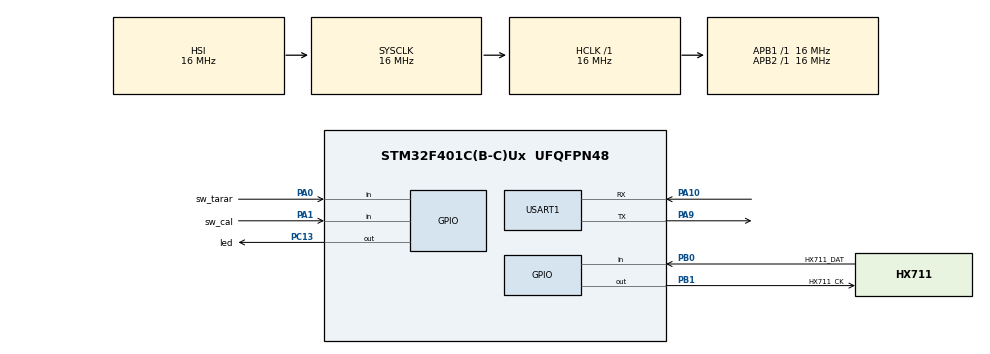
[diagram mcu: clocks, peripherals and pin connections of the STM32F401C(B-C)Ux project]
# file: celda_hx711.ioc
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Mcu.Family=STM32F4
Mcu.Name=STM32F401C(B-C)Ux
Mcu.Package=UFQFPN48
NVIC.PriorityGroup=NVIC_PRIORITYGROUP_4
PA0-WKUP.GPIO_Label=sw_tarar
PA0-WKUP.GPIO_PuPd=GPIO_PULLUP
PA0-WKUP.Signal=GPIO_Input
PA1.GPIO_Label=sw_cal
PA1.GPIO_PuPd=GPIO_PULLUP
PA1.Signal=GPIO_Input
PA10.Mode=Asynchronous
PA10.Signal=USART1_RX
PA9.Mode=Asynchronous
PA9.Signal=USART1_TX
PB0.GPIO_Label=HX711_DAT
PB0.GPIO_PuPd=GPIO_PULLUP
PB0.Signal=GPIO_Input
PB1.GPIO_Label=HX711_CK
PB1.Signal=GPIO_Output
PC13-ANTI_TAMP.GPIO_Label=led
PC13-ANTI_TAMP.Signal=GPIO_Output
ProjectManager.HeapSize=0x200
ProjectManager.StackSize=0x400
ProjectManager.TargetToolchain=STM32CubeIDE
RCC.AHBFreq_Value=16000000
RCC.APB1Freq_Value=16000000
RCC.APB2Freq_Value=16000000
RCC.CortexFreq_Value=16000000
RCC.HSE_VALUE=25000000
RCC.HSI_VALUE=16000000
RCC.LSE_VALUE=32768
RCC.SYSCLKFreq_VALUE=16000000
RCC.VCOOutputFreq_Value=192000000
USART1.VirtualMode=VM_ASYNC
board=custom

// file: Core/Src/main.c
/* USER CODE BEGIN Header */
/**
  ******************************************************************************
  * @file           : main.c
  * @brief          : Main program body
  ******************************************************************************
  * @attention
  *
  * Copyright (c) 2023 STMicroelectronics.
  * All rights reserved.
  *
  * This software is licensed under terms that can be found in the LICENSE file
  * in the root directory of this software component.
  * If no LICENSE file comes with this software, it is provided AS-IS.
  *
  ******************************************************************************
  */
/* USER CODE END Header */
#include "main.h"

/* USER CODE BEGIN Includes */
#include "uart.h"
#include "puertos.h"
#include "delays.h"
#include "HX711.h"
/* USER CODE END Includes */

UART_HandleTypeDef huart1;

/* USER CODE BEGIN PV */
const float offset_manual=83877.0;  //offset, valor leido a 0
const float calibra=419387 - offset_manual;  // valor a la calobtracion menos el offset

//IMPORTANTE ESTE VALOR poner el peso conocido
const float prueba=1000;  //  peso de prueba para calibración    gramos

float factor=prueba/calibra; //factor de multiplicativo a lectura base    debe colocarse aqui

int32_t offset=offset_manual;// carga el offset manual al offset a usar
int32_t celda=0;
float peso,cal;

char texto[50];

/* USER CODE END PV */

void SystemClock_Config(void);
static void MX_GPIO_Init(void);
static void MX_USART1_UART_Init(void);

int main(void)
{

  /* MCU Configuration--------------------------------------------------------*/

  /* Reset of all peripherals, Initializes the Flash interface and the Systick. */
  HAL_Init();

  /* Configure the system clock */
  SystemClock_Config();

  /* Initialize all configured peripherals */
  MX_GPIO_Init();
  MX_USART1_UART_Init();
  /* USER CODE BEGIN 2 */
    HX711_init();
//INICIA TARANDO LA BALANZA

    HX_tarar(50,128);  //numero de datos, a que ganancia
    sprintf(texto,"OFFSET=%.lf\r\n",(float)offset);
     uartx_write_text(&huart1, texto);

  /* USER CODE END 2 */

  /* Infinite loop */
  /* USER CODE BEGIN WHILE */
  while (1)
  {

		  peso=HX711_promedio(20,128)-offset;
		   peso=peso*factor;
		   if (peso<=0) peso=0;
	       sprintf(texto,"%.1f\r\n",peso);
	       uartx_write_text(&huart1, texto);
     HAL_Delay(200);
	  //Titila led
		  HAL_GPIO_TogglePin(led_GPIO_Port, led_Pin);
	       HAL_Delay(100);

	         if(sw_tarar==0)
	            {
	        	 uartx_write_text(&huart1, "Tarando\r\n");
	             HAL_GPIO_WritePin(led_GPIO_Port, led_Pin, 0);
	             HAL_Delay(300);
	             HX_tarar(50,128);  //numero de datos, a que ganancia
	             sprintf(texto,"Tarado offset=%.1f\r\n",(float)offset);
	             uartx_write_text(&huart1, texto);
	            }

	           if (sw_cal==0)
	                  {
	        		 uartx_write_text(&huart1, "calibrando\r\n");

	        	   HAL_GPIO_WritePin(led_GPIO_Port, led_Pin, 0);
	                  cal=HX711_promedio(50,128)-offset;
	                  factor= prueba/cal;
	             	 uartx_write_text(&huart1, "listo\r\n");

	                  }

    /* USER CODE END WHILE */

  }
}

void SystemClock_Config(void)
{
  RCC_OscInitTypeDef RCC_OscInitStruct = {0};
  RCC_ClkInitTypeDef RCC_ClkInitStruct = {0};

  /** Configure the main internal regulator output voltage
  */
  __HAL_RCC_PWR_CLK_ENABLE();
  __HAL_PWR_VOLTAGESCALING_CONFIG(PWR_REGULATOR_VOLTAGE_SCALE2);

  /** Initializes the RCC Oscillators according to the specified parameters
  * in the RCC_OscInitTypeDef structure.
  */
  RCC_OscInitStruct.OscillatorType = RCC_OSCILLATORTYPE_HSI;
  RCC_OscInitStruct.HSIState = RCC_HSI_ON;
  RCC_OscInitStruct.HSICalibrationValue = RCC_HSICALIBRATION_DEFAULT;
  RCC_OscInitStruct.PLL.PLLState = RCC_PLL_NONE;
  if (HAL_RCC_OscConfig(&RCC_OscInitStruct) != HAL_OK)
  {
    Error_Handler();
  }

  /** Initializes the CPU, AHB and APB buses clocks
  */
  RCC_ClkInitStruct.ClockType = RCC_CLOCKTYPE_HCLK|RCC_CLOCKTYPE_SYSCLK
                              |RCC_CLOCKTYPE_PCLK1|RCC_CLOCKTYPE_PCLK2;
  RCC_ClkInitStruct.SYSCLKSource = RCC_SYSCLKSOURCE_HSI;
  RCC_ClkInitStruct.AHBCLKDivider = RCC_SYSCLK_DIV1;
  RCC_ClkInitStruct.APB1CLKDivider = RCC_HCLK_DIV1;
  RCC_ClkInitStruct.APB2CLKDivider = RCC_HCLK_DIV1;

  if (HAL_RCC_ClockConfig(&RCC_ClkInitStruct, FLASH_LATENCY_0) != HAL_OK)
  {
    Error_Handler();
  }
}

static void MX_USART1_UART_Init(void)
{

  huart1.Instance = USART1;
  huart1.Init.BaudRate = 115200;
  huart1.Init.WordLength = UART_WORDLENGTH_8B;
  huart1.Init.StopBits = UART_STOPBITS_1;
  huart1.Init.Parity = UART_PARITY_NONE;
  huart1.Init.Mode = UART_MODE_TX_RX;
  huart1.Init.HwFlowCtl = UART_HWCONTROL_NONE;
  huart1.Init.OverSampling = UART_OVERSAMPLING_16;
  if (HAL_UART_Init(&huart1) != HAL_OK)
  {
    Error_Handler();
  }

}

static void MX_GPIO_Init(void)
{
  GPIO_InitTypeDef GPIO_InitStruct = {0};

  /* GPIO Ports Clock Enable */
  __HAL_RCC_GPIOC_CLK_ENABLE();
  __HAL_RCC_GPIOA_CLK_ENABLE();
  __HAL_RCC_GPIOB_CLK_ENABLE();

  /*Configure GPIO pin Output Level */
  HAL_GPIO_WritePin(led_GPIO_Port, led_Pin, GPIO_PIN_RESET);

  /*Configure GPIO pin Output Level */
  HAL_GPIO_WritePin(HX711_CK_GPIO_Port, HX711_CK_Pin, GPIO_PIN_RESET);

  /*Configure GPIO pin : led_Pin */
  GPIO_InitStruct.Pin = led_Pin;
  GPIO_InitStruct.Mode = GPIO_MODE_OUTPUT_PP;
  GPIO_InitStruct.Pull = GPIO_NOPULL;
  GPIO_InitStruct.Speed = GPIO_SPEED_FREQ_LOW;
  HAL_GPIO_Init(led_GPIO_Port, &GPIO_InitStruct);

  /*Configure GPIO pins : sw_tarar_Pin sw_cal_Pin */
  GPIO_InitStruct.Pin = sw_tarar_Pin|sw_cal_Pin;
  GPIO_InitStruct.Mode = GPIO_MODE_INPUT;
  GPIO_InitStruct.Pull = GPIO_PULLUP;
  HAL_GPIO_Init(GPIOA, &GPIO_InitStruct);

  /*Configure GPIO pin : HX711_DAT_Pin */
  GPIO_InitStruct.Pin = HX711_DAT_Pin;
  GPIO_InitStruct.Mode = GPIO_MODE_INPUT;
  GPIO_InitStruct.Pull = GPIO_PULLUP;
  HAL_GPIO_Init(HX711_DAT_GPIO_Port, &GPIO_InitStruct);

  /*Configure GPIO pin : HX711_CK_Pin */
  GPIO_InitStruct.Pin = HX711_CK_Pin;
  GPIO_InitStruct.Mode = GPIO_MODE_OUTPUT_PP;
  GPIO_InitStruct.Pull = GPIO_NOPULL;
  GPIO_InitStruct.Speed = GPIO_SPEED_FREQ_LOW;
  HAL_GPIO_Init(HX711_CK_GPIO_Port, &GPIO_InitStruct);

}

void Error_Handler(void)
{
  __disable_irq();
  while (1)
  {
  }
}
